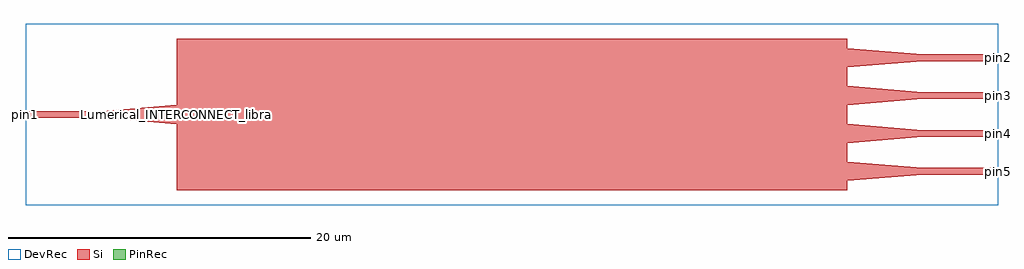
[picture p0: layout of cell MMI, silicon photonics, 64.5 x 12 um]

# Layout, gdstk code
import gdstk
lib = gdstk.Library(unit=1e-6, precision=1e-10)
def R(c, l, rs):  # rectangles x0, y0, x1, y1
    for r in rs: c.add(gdstk.rectangle(r[:2], r[2:], *l))
def A(c, l, x, y, w, h, nx, ny, dx, dy):  # array of equal rectangles
    R(c, l, [(x+i*dx, y+j*dy, x+i*dx+w, y+j*dy+h) for i in range(nx) for j in range(ny)])
def P(c, l, *ps):  # polygons
    for p in ps: c.add(gdstk.Polygon(p, *l))
Si = (1, 0)
PinRec = (1, 10)
DevRec = (68, 0)

mmi = lib.new_cell('MMI')
A(mmi, Si, 49.3, -3.975, 5, 0.45, 1, 4, 0, 2.5)
R(mmi, Si, [(0,-5,44.3,5), (-10,-0.225,-5,0.225)])
P(mmi, Si, [(0,-0.635),(-5,-0.225),(-5,0.225),(0,0.635)],
  [(44.3,3.115),(44.3,4.385),(49.3,3.975),(49.3,3.525)],
  [(44.3,0.615),(44.3,1.885),(49.3,1.475),(49.3,1.025)],
  [(44.3,-1.885),(44.3,-0.615),(49.3,-1.025),(49.3,-1.475)],
  [(44.3,-4.385),(44.3,-3.115),(49.3,-3.525),(49.3,-3.975)])
R(mmi, DevRec, [(-10,-6,54.3,6)])
mmi.add(gdstk.FlexPath([(-9.9,0),(-10.1,0)], 0.45, ends="flush", simple_path=True, layer=1, datatype=10))  # PinRec
mmi.add(gdstk.FlexPath([(54.2,3.75),(54.4,3.75)], 0.45, ends="flush", simple_path=True, layer=1, datatype=10))  # PinRec
mmi.add(gdstk.FlexPath([(54.2,-3.75),(54.4,-3.75)], 0.45, ends="flush", simple_path=True, layer=1, datatype=10))  # PinRec
mmi.add(gdstk.FlexPath([(54.2,1.25),(54.4,1.25)], 0.45, ends="flush", simple_path=True, layer=1, datatype=10))  # PinRec
mmi.add(gdstk.FlexPath([(54.2,-1.25),(54.4,-1.25)], 0.45, ends="flush", simple_path=True, layer=1, datatype=10))  # PinRec
mmi.add(gdstk.Label('Lumerical_INTERCONNECT_library=Custom/ebeam_user', (0,0), layer=68, texttype=0))
mmi.add(gdstk.Label('pin1', (-10,0), layer=1, texttype=10))
mmi.add(gdstk.Label('pin2', (54.3,3.75), layer=1, texttype=10))
mmi.add(gdstk.Label('pin5', (54.3,-3.75), layer=1, texttype=10))
mmi.add(gdstk.Label('pin3', (54.3,1.25), layer=1, texttype=10))
mmi.add(gdstk.Label('pin4', (54.3,-1.25), layer=1, texttype=10))

lib.write_gds('MMI.gds')
